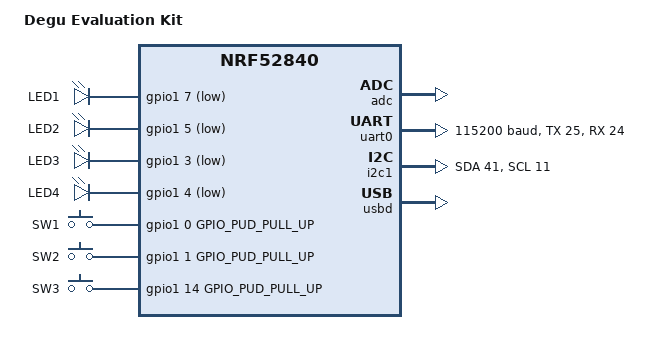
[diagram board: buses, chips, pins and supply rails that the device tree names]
/*
 * Copyright (c) 2019 Atmark Techno, Inc.
 *
 * SPDX-License-Identifier: Apache-2.0
 */

/dts-v1/;
#include <nordic/nrf52840_qiaa.dtsi>

/ {
	model = "Degu Evaluation Kit";
	compatible = "nordic,pca10056-dk", "nordic,nrf52840-qiaa",
		     "nordic,nrf52840";

	chosen {
		zephyr,console = &usb_cdc;
		zephyr,shell-uart = &usb_cdc;
		zephyr,uart-mcumgr = &uart0;
		zephyr,sram = &sram0;
		zephyr,flash = &flash0;
		zephyr,code-partition = &slot0_partition;
	};

	leds {
		compatible = "gpio-leds";
		led0: led_0 {
			gpios = <&gpio1 7 GPIO_INT_ACTIVE_LOW>;
			label = "LED1";
		};
		led1: led_1 {
			gpios = <&gpio1 5 GPIO_INT_ACTIVE_LOW>;
			label = "LED2";
		};
		led2: led_2 {
			gpios = <&gpio1 3 GPIO_INT_ACTIVE_LOW>;
			label = "LED3";
		};
		led3: led_3 {
			gpios = <&gpio1 4 GPIO_INT_ACTIVE_LOW>;
			label = "LED4";
		};
	};

	buttons {
		compatible = "gpio-keys";
		button0: button_0 {
			gpios = <&gpio1 0 GPIO_PUD_PULL_UP>;
			label = "SW1";
		};
		button1: button_1 {
			gpios = <&gpio1 1 GPIO_PUD_PULL_UP>;
			label = "SW2";
		};
		button2: button_2 {
			gpios = <&gpio1 14 GPIO_PUD_PULL_UP>;
			label = "SW3";
		};
	};

	/* These aliases are provided for compatibility with samples */
	aliases {
		led0 = &led0;
		led1 = &led1;
		led2 = &led2;
		led3 = &led3;
		sw0 = &button0;
		sw1 = &button1;
		sw2 = &button2;
	};
};

&adc {
	status ="ok";
};

&gpiote {
	status ="ok";
};

&gpio0 {
	status ="ok";
};

&gpio1 {
	status ="ok";
};

&uart0 {
	compatible = "nordic,nrf-uart";
	current-speed = <115200>;
	status = "ok";
	tx-pin = <25>;
	rx-pin = <24>;
	rts-pin = <23>;
	cts-pin = <21>;
};

&i2c1 {
	status = "ok";
	sda-pin = <41>;
	scl-pin = <11>;
};

&flash0 {
	/*
	 * For more information, see:
	 * http://docs.zephyrproject.org/latest/guides/dts/index.html#flash-partitions
	 */
	partitions {
		compatible = "fixed-partitions";
		#address-cells = <1>;
		#size-cells = <1>;

		boot_partition: partition@0 {
			label = "mcuboot";
			reg = <0x000000000 0x0000C000>;
		};
		slot0_partition: partition@c000 {
			label = "image-0";
			reg = <0x0000C000 0x000069000>;
		};
		slot1_partition: partition@75000 {
			label = "image-1";
			reg = <0x00075000 0x000069000>;
		};
		scratch_partition: partition@de000 {
			label = "image-scratch";
			reg = <0x000de000 0x0001e000>;
		};
		storage_partition: partition@fc000 {
			label = "storage";
			reg = <0x000fc000 0x00004000>;
		};
	};
};

&usbd {
	compatible = "nordic,nrf-usbd";
	label = "CDC_ACM";
	status = "ok";
};
